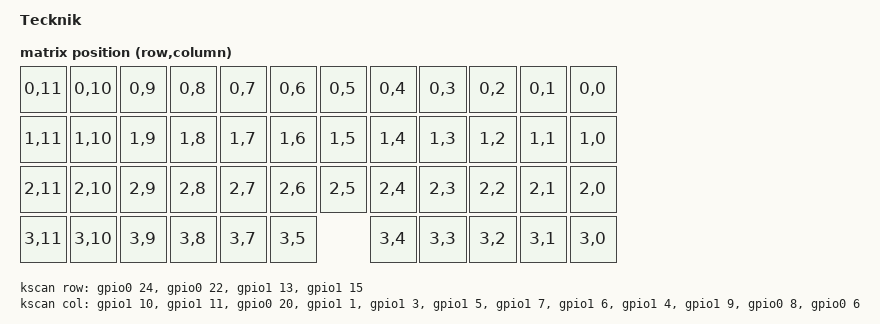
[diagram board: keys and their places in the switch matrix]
/*
 * Copyright (c) 2022 Pete Johanson
 *
 * SPDX-License-Identifier: MIT
 */

/dts-v1/;
#include <nordic/nrf52840_qiaa.dtsi>
#include <dt-bindings/zmk/matrix_transform.h>

/ {
	model = "Tecknik";
	compatible = "boardsource,Technik";

	chosen {
		zephyr,code-partition = &code_partition;
		zephyr,sram = &sram0;
		zephyr,flash = &flash0;
		zmk,kscan = &kscan;
		zmk,matrix_transform = &default_transform;
		zephyr,console = &cdc_acm_uart0;
	};

	aliases {
		led0 = &blue_led;
	};
#if 0
	behaviors {
		hw_soft_off: behavior_hw_soft_off {
			compatible = "zmk,behavior-soft-off";
			#binding-cells = <0>;
			label = "HW_SO";
			hold-time-ms = <1000>;
		};
	};
#endif
	leds {
		compatible = "gpio-leds";
		blue_led: led_0 {
			gpios = <&gpio0 4 GPIO_ACTIVE_LOW>;
			label = "Blue LED";
		};
	};
#if 0
	keys {
		compatible = "gpio-keys";
		wakeup_key: wakeup_key {
			gpios = <&gpio0 2 (GPIO_ACTIVE_HIGH | GPIO_PULL_DOWN)>;
		};
	};


	wakeup_source: wakeup_source {
		compatible = "zmk,wakeup-trigger-key";

		trigger = <&wakeup_key>;
		wakeup-source;
		extra-gpios 
			= <&gpio0 12 GPIO_ACTIVE_HIGH>
			;
	};

	soft_off_behavior_key {
		compatible = "zmk,behavior-key-scanned";
		status = "okay";
		bindings = <&hw_soft_off>;
		key = <&wakeup_key>;
	};

	soft_off_wakers {
		compatible = "zmk,soft-off-wakeup-sources";
		wakeup-sources = <&wakeup_source>;
	};

	soft_on_off {
		compatible = "zmk,soft-on-off-gpio";

		input-gpios = <&gpio0 2 (GPIO_ACTIVE_HIGH | GPIO_PULL_DOWN)>;
		wakeup-sources = <&kscan>;
		output-gpios 
			= <&gpio0 12 GPIO_ACTIVE_HIGH>
			;
	};
#endif

    default_transform: keymap_transform_0 {
        compatible = "zmk,matrix-transform";
        rows = <4>;
        columns = <12>;

        map = <
            RC(0,11) RC(0,10) RC(0,9) RC(0,8) RC(0,7) RC(0,6) RC(0,5) RC(0,4) RC(0,3) RC(0,2) RC(0,1) RC(0,0)
            RC(1,11) RC(1,10) RC(1,9) RC(1,8) RC(1,7) RC(1,6) RC(1,5) RC(1,4) RC(1,3) RC(1,2) RC(1,1) RC(1,0)
			RC(2,11) RC(2,10) RC(2,9) RC(2,8) RC(2,7) RC(2,6) RC(2,5) RC(2,4) RC(2,3) RC(2,2) RC(2,1) RC(2,0)
			RC(3,11) RC(3,10) RC(3,9) RC(3,8) RC(3,7)     RC(3,5)     RC(3,4) RC(3,3) RC(3,2) RC(3,1) RC(3,0)
        >;

    };
	
	kscan: kscan {
		compatible = "zmk,kscan-gpio-matrix";
		wakeup-source;
		label = "KSCAN";
		debounce-press-ms = <1>;
		debounce-release-ms = <5>;

		diode-direction = "col2row";

		col-gpios
			= <&gpio1 10 (GPIO_ACTIVE_HIGH)>
			, <&gpio1 11 (GPIO_ACTIVE_HIGH)>
			, <&gpio0 20 (GPIO_ACTIVE_HIGH)>
			, <&gpio1 1  (GPIO_ACTIVE_HIGH)>
			, <&gpio1 3  (GPIO_ACTIVE_HIGH)>
			, <&gpio1 5  (GPIO_ACTIVE_HIGH)>
			, <&gpio1 7  (GPIO_ACTIVE_HIGH)>
			, <&gpio1 6  (GPIO_ACTIVE_HIGH)>
			, <&gpio1 4  (GPIO_ACTIVE_HIGH)>
			, <&gpio1 9  (GPIO_ACTIVE_HIGH)>
			, <&gpio0 8  (GPIO_ACTIVE_HIGH)>
			, <&gpio0 6  (GPIO_ACTIVE_HIGH)>
			;
		row-gpios
			= <&gpio0 24 (GPIO_ACTIVE_HIGH | GPIO_PULL_DOWN)>
			, <&gpio0 22 (GPIO_ACTIVE_HIGH | GPIO_PULL_DOWN)>
			, <&gpio1 13 (GPIO_ACTIVE_HIGH | GPIO_PULL_DOWN)>
			, <&gpio1 15 (GPIO_ACTIVE_HIGH | GPIO_PULL_DOWN)>
			;
	};
};

&adc {
	status = "okay";
};

&gpiote {
	status = "okay";
};

&gpio0 {
	status = "okay";
};

&gpio1 {
	status = "okay";
};


&usbd {
	status = "okay";
	cdc_acm_uart0: cdc_acm_uart0 {
		compatible = "zephyr,cdc-acm-uart";
		label = "CDC_ACM_0";
	};
}; 

&flash0 {
	/*
	 * For more information, see:
	 * http://docs.zephyrproject.org/latest/devices/dts/flash_partitions.html
	 */
	partitions {
		compatible = "fixed-partitions";
		#address-cells = <1>;
		#size-cells = <1>;

		sd_partition: partition@0 {
			label = "mbr";
			reg = <0x00000000 0x00001000>;
		};
		code_partition: partition@1000 {
			label = "code_partition";
			reg = <0x00001000 0x000d3000>;
		};

		storage_partition: partition@d4000 {
			label = "storage";
			reg = <0x000d4000 0x00020000>;
		};

		boot_partition: partition@f4000 {
			label = "adafruit_boot";
			reg = <0x000f4000 0x0000c000>;
		};
	};
};

/ {
    chosen {
        zmk,battery = &vbatt;
    };

    vbatt: vbatt {
        compatible = "zmk,battery-voltage-divider";
        io-channels = <&adc 7>;
        power-gpios = <&gpio0 15 (GPIO_OPEN_DRAIN | GPIO_ACTIVE_LOW)>;
        output-ohms = <510000>;
        full-ohms = <(1000000 + 510000)>;
    };
};

#if 0
/ {
    // Existing keyboard config...

    // Add a LED node here if not already defined by the board
    leds {
        compatible = "gpio-leds";
        status_led: status_led {
            gpios = <&gpio0 4 GPIO_ACTIVE_LOW>;
            label = "Status LED";
        };
    };
    
    status_led_device: status_led_device {
        compatible = "zmk,status-led";
        led = <&status_led>;
    };
};
#endif

/ {
    aliases {
        led-red = &led0;
        led-green = &led1;
        led-blue = &led2;
    };

    leds {
        compatible = "gpio-leds";
        status = "okay";
        led0: led_0 {
            gpios = <&gpio0 27 GPIO_ACTIVE_LOW>;  // red LED, connected to P0.27
        };
        led1: led_1 {
            gpios = <&gpio0 26 GPIO_ACTIVE_LOW>;  // green LED, connected to P0.26
        };
        led2: led_2 {
            gpios = <&gpio0 4 GPIO_ACTIVE_LOW>;  // blue LED, connected to P0.04
        };
    };
};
